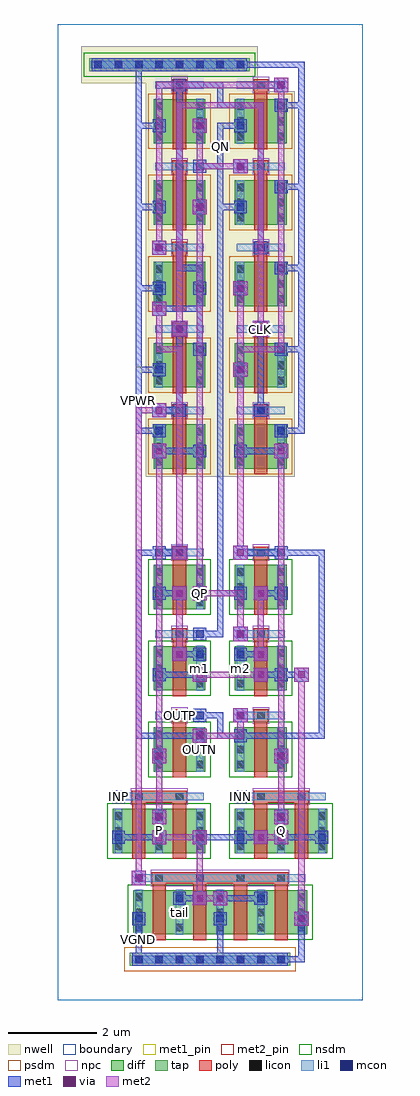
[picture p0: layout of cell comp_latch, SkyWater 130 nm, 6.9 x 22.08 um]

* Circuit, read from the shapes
.subckt comp_latch CLK INN INP OUTN OUTP P Q QN QP VGND VPWR m1 m2 tail
XM1 P INP tail VGND sky130_fd_pr__nfet_01v8 w=1 l=0.3 m=2
XM2 tail CLK VGND VGND sky130_fd_pr__nfet_01v8 w=1 l=0.3 m=4
XM3 OUTN OUTP P VGND sky130_fd_pr__nfet_01v8 w=1 l=0.3
XM4 m1 QN VGND VGND sky130_fd_pr__nfet_01v8 w=1 l=0.3
XM5 QP OUTN m1 VGND sky130_fd_pr__nfet_01v8 w=1 l=0.3
XM6 Q INN tail VGND sky130_fd_pr__nfet_01v8 w=1 l=0.3 m=2
XM7 Q OUTN OUTP VGND sky130_fd_pr__nfet_01v8 w=1 l=0.3
XM8 VGND QP m2 VGND sky130_fd_pr__nfet_01v8 w=1 l=0.3
XM9 m2 OUTP QN VGND sky130_fd_pr__nfet_01v8 w=1 l=0.3
XM10 P CLK VPWR VPWR sky130_fd_pr__pfet_01v8 w=1 l=0.3
XM11 OUTN CLK VPWR VPWR sky130_fd_pr__pfet_01v8 w=1 l=0.3
XM12 OUTN OUTP VPWR VPWR sky130_fd_pr__pfet_01v8 w=1 l=0.3
XM13 QP QN VPWR VPWR sky130_fd_pr__pfet_01v8 w=1 l=0.3
XM14 QP OUTN VPWR VPWR sky130_fd_pr__pfet_01v8 w=1 l=0.3
XM15 VPWR CLK Q VPWR sky130_fd_pr__pfet_01v8 w=1 l=0.3
XM16 VPWR CLK OUTP VPWR sky130_fd_pr__pfet_01v8 w=1 l=0.3
XM17 VPWR OUTN OUTP VPWR sky130_fd_pr__pfet_01v8 w=1 l=0.3
XM18 VPWR QP QN VPWR sky130_fd_pr__pfet_01v8 w=1 l=0.3
XM19 VPWR OUTP QN VPWR sky130_fd_pr__pfet_01v8 w=1 l=0.3
.ends

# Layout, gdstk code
import gdstk
lib = gdstk.Library(unit=1e-6, precision=1e-09)
def R(c, l, rs):  # rectangles x0, y0, x1, y1
    for r in rs: c.add(gdstk.rectangle(r[:2], r[2:], *l))
def A(c, l, x, y, w, h, nx, ny, dx, dy):  # array of equal rectangles
    R(c, l, [(x+i*dx, y+j*dy, x+i*dx+w, y+j*dy+h) for i in range(nx) for j in range(ny)])
nwell = (64, 20)
diff = (65, 20)
tap = (65, 44)
poly = (66, 20)
licon = (66, 44)
li1 = (67, 20)
mcon = (67, 44)
met1_pin = (68, 16)
met1 = (68, 20)
via = (68, 44)
met2_pin = (69, 16)
met2 = (69, 20)
nsdm = (93, 44)
psdm = (94, 20)
npc = (95, 20)
boundary = (235, 4)

comp_latch = lib.new_cell('comp_latch')
R(comp_latch, nwell, [(1.995,11.84,5.365,20.56), (1.995,20.56,4.525,20.74), (0.535,20.74,4.525,21.58)])
A(comp_latch, diff, 2.175, 5.165, 1.17, 1, 1, 3, 0, 1.84)
A(comp_latch, diff, 4.015, 5.165, 1.17, 1, 1, 3, 0, 1.84)
A(comp_latch, diff, 2.175, 12.02, 1.17, 1, 1, 5, 0, 1.84)
A(comp_latch, diff, 4.015, 12.02, 1.17, 1, 1, 5, 0, 1.84)
R(comp_latch, diff, [(1.715,1.485,5.645,2.485), (1.255,3.325,3.345,4.325), (4.015,3.325,6.105,4.325)])
R(comp_latch, tap, [(1.635,0.775,5.265,1.065), (0.715,21.015,4.345,21.305)])
A(comp_latch, poly, 2.15, 1.355, 0.3, 1.405, 4, 1, 0.92, 0)
A(comp_latch, poly, 2.61, 3.195, 0.3, 1.405, 1, 4, 0, 1.84)
A(comp_latch, poly, 4.45, 3.195, 0.3, 1.405, 1, 4, 0, 1.84)
A(comp_latch, poly, 2.595, 6.305, 0.33, 0.27, 1, 3, 0, 1.84)
A(comp_latch, poly, 4.435, 6.305, 0.33, 0.27, 1, 3, 0, 1.84)
A(comp_latch, poly, 2.61, 11.89, 0.3, 1.45, 1, 5, 0, 1.84)
A(comp_latch, poly, 4.45, 11.89, 0.3, 1.45, 1, 5, 0, 1.84)
A(comp_latch, poly, 2.595, 13.205, 0.33, 0.27, 1, 5, 0, 1.84)
A(comp_latch, poly, 4.435, 13.205, 0.33, 0.27, 1, 5, 0, 1.84)
R(comp_latch, poly, [(2.135,2.625,5.225,2.895), (1.69,3.195,1.99,4.6), (5.37,3.195,5.67,4.6), (1.675,4.465,2.925,4.735), (4.435,4.465,5.685,4.735)])
A(comp_latch, licon, 1.755, 0.835, 0.17, 0.17, 8, 1, 0.46, 0)
A(comp_latch, licon, 1.755, 1.56, 0.17, 0.17, 5, 3, 0.92, 0.34)
A(comp_latch, licon, 2.215, 2.675, 0.17, 0.17, 4, 2, 0.92, 2.565)
A(comp_latch, licon, 1.295, 3.4, 0.17, 0.17, 6, 3, 0.92, 0.34)
A(comp_latch, licon, 2.675, 4.515, 0.17, 0.17, 1, 4, 0, 1.84)
A(comp_latch, licon, 4.515, 4.515, 0.17, 0.17, 1, 4, 0, 1.84)
A(comp_latch, licon, 2.215, 5.58, 0.17, 0.17, 4, 2, 0.92, 0.34)
A(comp_latch, licon, 2.215, 7.08, 0.17, 0.17, 4, 3, 0.92, 0.34)
A(comp_latch, licon, 2.215, 8.92, 0.17, 0.17, 4, 3, 0.92, 0.34)
A(comp_latch, licon, 2.215, 12.095, 0.17, 0.17, 4, 3, 0.92, 0.34)
A(comp_latch, licon, 2.675, 13.255, 0.17, 0.17, 1, 5, 0, 1.84)
A(comp_latch, licon, 4.515, 13.255, 0.17, 0.17, 1, 5, 0, 1.84)
A(comp_latch, licon, 2.215, 13.935, 0.17, 0.17, 4, 3, 0.92, 0.34)
A(comp_latch, licon, 2.215, 15.775, 0.17, 0.17, 4, 3, 0.92, 0.34)
A(comp_latch, licon, 2.215, 17.615, 0.17, 0.17, 4, 3, 0.92, 0.34)
A(comp_latch, licon, 2.215, 19.455, 0.17, 0.17, 4, 3, 0.92, 0.34)
A(comp_latch, licon, 0.835, 21.075, 0.17, 0.17, 8, 1, 0.46, 0)
R(comp_latch, licon, [(1.755,4.515,1.925,4.685), (5.435,4.515,5.605,4.685)])
A(comp_latch, li1, 1.755, 1.48, 0.17, 1.01, 5, 1, 0.92, 0)
A(comp_latch, li1, 1.295, 3.32, 0.17, 1.01, 6, 1, 0.92, 0)
A(comp_latch, li1, 2.215, 5.16, 0.17, 1.01, 4, 3, 0.92, 1.84)
A(comp_latch, li1, 2.215, 6.355, 1.09, 0.17, 1, 3, 0, 1.84)
A(comp_latch, li1, 4.055, 6.355, 1.09, 0.17, 1, 3, 0, 1.84)
A(comp_latch, li1, 2.215, 12.015, 0.17, 1.01, 4, 5, 0.92, 1.84)
A(comp_latch, li1, 2.215, 13.255, 1.09, 0.17, 1, 5, 0, 1.84)
A(comp_latch, li1, 4.055, 13.255, 1.09, 0.17, 1, 5, 0, 1.84)
R(comp_latch, li1, [(1.675,0.835,5.225,1.005), (1.755,2.675,5.605,2.845), (1.295,4.515,3.305,4.685), (4.055,4.515,6.065,4.685), (0.755,21.075,4.305,21.245)])
A(comp_latch, mcon, 1.755, 0.835, 0.17, 0.17, 8, 1, 0.46, 0)
A(comp_latch, mcon, 1.755, 1.755, 0.17, 0.17, 3, 1, 1.84, 0)
A(comp_latch, mcon, 2.215, 7.275, 0.17, 0.17, 1, 3, 0, 2.76)
A(comp_latch, mcon, 4.975, 7.275, 0.17, 0.17, 1, 3, 0, 2.76)
A(comp_latch, mcon, 2.215, 9.115, 0.17, 0.17, 4, 1, 0.92, 0)
A(comp_latch, mcon, 4.515, 13.255, 0.17, 0.17, 1, 3, 0, 1.84)
A(comp_latch, mcon, 4.975, 14.635, 0.17, 0.17, 1, 4, 0, 1.84)
A(comp_latch, mcon, 2.215, 16.015, 0.17, 0.17, 3, 3, 0.92, 1.84)
A(comp_latch, mcon, 0.835, 21.075, 0.17, 0.17, 8, 1, 0.46, 0)
R(comp_latch, mcon, [(2.675,2.215,2.845,2.385), (4.515,2.215,4.685,2.385), (1.755,2.675,1.925,2.845), (1.295,3.595,1.465,3.765), (3.135,3.595,3.305,3.765), (4.055,3.595,4.225,3.765), (5.895,3.595,6.065,3.765), (2.215,4.055,2.385,4.225), (4.975,4.055,5.145,4.225), (1.295,4.515,1.465,4.685), (4.055,4.515,4.225,4.685), (2.215,5.435,2.385,5.605), (4.975,5.435,5.145,5.605), (3.135,5.895,3.305,6.065), (4.055,5.895,4.225,6.065), (3.135,6.355,3.305,6.525), (4.055,6.355,4.225,6.525), (3.135,7.735,3.305,7.905), (4.055,7.735,4.225,7.905), (3.135,8.195,3.305,8.365), (4.055,8.195,4.225,8.365), (3.135,12.335,3.305,12.505), (4.055,12.335,4.225,12.505), (2.675,13.255,2.845,13.425), (2.215,14.175,2.385,14.345), (4.055,14.175,4.225,14.345), (3.135,14.635,3.305,14.805), (2.675,15.095,2.845,15.265), (2.215,16.935,2.385,17.105), (3.135,18.775,3.305,18.945), (4.055,18.775,4.225,18.945), (2.675,20.615,2.845,20.785), (4.975,20.615,5.145,20.785)])
R(comp_latch, met1_pin, [(1.77,0.85,1.91,1.91), (1.235,4.455,1.525,4.745), (3.995,4.455,4.285,4.745), (1.77,12.81,1.91,14.33), (4.455,15.035,4.745,15.325), (3.61,18.79,3.75,19.85)])
A(comp_latch, met1, 1.77, 0.85, 0.14, 1.06, 3, 1, 1.84, 0)
A(comp_latch, met1, 1.695, 1.695, 0.29, 0.29, 3, 1, 1.84, 0)
A(comp_latch, met1, 1.31, 3.61, 1.06, 0.14, 3, 1, 1.84, 0)
A(comp_latch, met1, 3.98, 6.28, 0.32, 0.32, 1, 3, 0, 1.84)
A(comp_latch, met1, 2.155, 7.215, 0.29, 0.29, 1, 3, 0, 2.76)
A(comp_latch, met1, 4.915, 7.215, 0.29, 0.29, 1, 3, 0, 2.76)
A(comp_latch, met1, 2.155, 9.055, 0.29, 0.29, 4, 1, 0.92, 0)
A(comp_latch, met1, 4.99, 12.81, 0.6, 0.14, 1, 5, 0, 1.84)
A(comp_latch, met1, 5.45, 12.81, 0.14, 1.98, 1, 4, 0, 1.84)
A(comp_latch, met1, 4.455, 13.195, 0.29, 0.29, 1, 3, 0, 1.84)
A(comp_latch, met1, 1.77, 14.19, 0.6, 0.14, 1, 4, 0, 1.84)
A(comp_latch, met1, 1.77, 14.19, 0.14, 1.98, 1, 3, 0, 1.84)
A(comp_latch, met1, 4.915, 14.575, 0.29, 0.29, 1, 4, 0, 1.84)
A(comp_latch, met1, 2.155, 15.955, 0.29, 0.29, 3, 3, 0.92, 1.84)
R(comp_latch, met1, [(1.695,0.775,5.205,1.065), (1.77,0.85,3.75,0.99), (3.61,0.85,5.59,0.99), (3.61,0.85,3.75,0.99), (5.36,1.68,5.68,2), (3.06,2.14,3.38,2.46), (3.52,2.14,3.84,2.46), (2.615,2.155,2.905,2.445), (4.455,2.155,4.745,2.445), (2.69,2.23,3.29,2.37), (3.61,2.23,4.67,2.37), (1.68,2.6,2,2.92), (1.695,2.615,1.985,2.905), (2.14,3.52,2.46,3.84), (3.06,3.52,3.38,3.84), (4.44,3.52,4.76,3.84), (4.9,3.52,5.22,3.84), (1.235,3.535,1.525,3.825), (3.075,3.535,3.365,3.825), (3.995,3.535,4.285,3.825), (5.835,3.535,6.125,3.825), (4.07,3.61,4.67,3.75), (2.14,3.98,2.46,4.3), (4.9,3.98,5.22,4.3), (2.155,3.995,2.445,4.285), (4.915,3.995,5.205,4.285), (1.235,4.455,1.525,4.745), (3.995,4.455,4.285,4.745), (2.14,5.36,2.46,5.68), (4.9,5.36,5.22,5.68), (2.155,5.375,2.445,5.665), (4.915,5.375,5.205,5.665), (3.06,5.82,3.38,6.14), (3.075,5.835,3.365,6.125), (3.995,5.835,4.285,6.125), (1.77,5.91,1.91,10.19), (1.77,5.91,3.29,6.05), (3.61,5.91,4.21,6.05), (3.61,5.91,3.75,6.51), (4.07,5.91,6.05,6.05), (5.91,5.91,6.05,10.19), (3.075,6.295,3.365,6.585), (3.995,6.295,4.285,6.585), (3.15,6.37,3.75,6.51), (3.06,7.2,3.38,7.52), (4.44,7.2,4.76,7.52), (5.36,7.2,5.68,7.52), (2.23,7.29,3.29,7.43), (4.53,7.29,5.13,7.43), (4.99,7.29,5.59,7.43), (2.6,7.66,2.92,7.98), (4.44,7.66,4.76,7.98), (3.075,7.675,3.365,7.965), (3.995,7.675,4.285,7.965), (2.69,7.75,3.29,7.89), (4.07,7.75,4.67,7.89), (3.075,8.135,3.365,8.425), (3.995,8.135,4.285,8.425), (3.15,8.21,3.75,8.35), (3.61,8.21,3.75,9.27), (2.6,9.04,2.92,9.36), (3.06,9.04,3.38,9.36), (4.44,9.04,4.76,9.36), (2.23,9.13,2.83,9.27), (3.61,9.13,4.21,9.27), (3.61,9.13,3.75,18.01), (4.53,9.13,5.13,9.27), (2.6,9.96,2.92,10.28), (1.77,10.05,2.37,10.19), (2.23,10.05,2.83,10.19), (4.07,10.05,5.13,10.19), (4.99,10.05,6.05,10.19), (2.14,12.26,2.46,12.58), (4.9,12.26,5.22,12.58), (3.075,12.275,3.365,12.565), (3.995,12.275,4.285,12.565), (2.23,12.35,3.29,12.49), (4.07,12.35,5.13,12.49), (1.77,12.81,2.37,12.95), (1.77,12.81,1.91,14.33), (2.14,13.18,2.46,13.5), (2.615,13.195,2.905,13.485), (2.23,13.27,2.83,13.41), (2.69,13.27,2.83,15.25), (4.53,13.27,4.67,15.25), (3.98,14.1,4.3,14.42), (2.155,14.115,2.445,14.405), (3.995,14.115,4.285,14.405), (3.075,14.575,3.365,14.865), (3.15,14.65,3.29,15.71), (2.6,15.02,2.92,15.34), (4.44,15.02,4.76,15.34), (2.615,15.035,2.905,15.325), (2.14,15.48,2.46,15.8), (2.23,15.57,3.29,15.71), (3.15,15.57,3.29,16.17), (3.98,15.94,4.3,16.26), (3.15,16.03,3.29,16.63), (2.69,16.49,3.29,16.63), (2.69,16.49,2.83,20.77), (2.14,16.86,2.46,17.18), (2.155,16.875,2.445,17.165), (4.53,16.95,4.67,20.31), (3.06,17.78,3.38,18.1), (3.61,17.87,4.21,18.01), (3.61,17.87,3.75,18.93), (3.98,18.7,4.3,19.02), (3.075,18.715,3.365,19.005), (3.995,18.715,4.285,19.005), (3.15,18.79,3.75,18.93), (3.61,18.79,3.75,19.85), (3.06,19.62,3.38,19.94), (1.77,19.71,1.91,21.23), (3.61,19.71,4.21,19.85), (3.61,20.17,4.67,20.31), (3.61,20.17,3.75,20.77), (5.45,20.17,5.59,21.23), (4.9,20.54,5.22,20.86), (2.615,20.555,2.905,20.845), (4.915,20.555,5.205,20.845), (2.69,20.63,3.75,20.77), (0.775,21.015,4.285,21.305), (1.77,21.09,5.59,21.23), (1.77,21.09,1.91,21.23)])
A(comp_latch, via, 4.065, 6.365, 0.15, 0.15, 1, 3, 0, 1.84)
R(comp_latch, via, [(5.445,1.765,5.595,1.915), (3.145,2.225,3.295,2.375), (3.605,2.225,3.755,2.375), (1.765,2.685,1.915,2.835), (2.225,3.605,2.375,3.755), (3.145,3.605,3.295,3.755), (4.525,3.605,4.675,3.755), (4.985,3.605,5.135,3.755), (2.225,4.065,2.375,4.215), (4.985,4.065,5.135,4.215), (2.225,5.445,2.375,5.595), (4.985,5.445,5.135,5.595), (3.145,5.905,3.295,6.055), (3.145,7.285,3.295,7.435), (4.525,7.285,4.675,7.435), (5.445,7.285,5.595,7.435), (2.685,7.745,2.835,7.895), (4.525,7.745,4.675,7.895), (2.685,9.125,2.835,9.275), (3.145,9.125,3.295,9.275), (4.525,9.125,4.675,9.275), (2.685,10.045,2.835,10.195), (2.225,12.345,2.375,12.495), (4.985,12.345,5.135,12.495), (2.225,13.265,2.375,13.415), (4.065,14.185,4.215,14.335), (2.685,15.105,2.835,15.255), (4.525,15.105,4.675,15.255), (2.225,15.565,2.375,15.715), (4.065,16.025,4.215,16.175), (2.225,16.945,2.375,17.095), (3.145,17.865,3.295,18.015), (4.065,18.785,4.215,18.935), (3.145,19.705,3.295,19.855), (4.985,20.625,5.135,20.775)])
R(comp_latch, met2_pin, [(3.06,9.04,3.38,9.36)])
A(comp_latch, met2, 3.98, 6.28, 0.32, 0.32, 1, 3, 0, 1.84)
R(comp_latch, met2, [(5.36,1.68,5.68,2), (5.45,1.77,5.59,7.43), (3.06,2.14,3.38,2.46), (3.52,2.14,3.84,2.46), (3.15,2.23,3.29,3.75), (3.15,2.23,3.75,2.37), (1.68,2.6,2,2.92), (1.77,2.69,1.91,13.41), (2.14,3.52,2.46,3.84), (3.06,3.52,3.38,3.84), (4.44,3.52,4.76,3.84), (4.9,3.52,5.22,3.84), (2.23,3.61,3.29,3.75), (4.53,3.61,5.13,3.75), (2.14,3.98,2.46,4.3), (4.9,3.98,5.22,4.3), (2.23,4.07,2.37,5.59), (4.99,4.07,5.13,5.59), (2.14,5.36,2.46,5.68), (4.9,5.36,5.22,5.68), (2.23,5.45,2.37,12.49), (4.99,5.45,5.13,12.49), (3.06,5.82,3.38,6.14), (3.15,5.91,4.21,6.05), (4.07,5.91,4.21,6.51), (3.06,7.2,3.38,7.52), (4.44,7.2,4.76,7.52), (5.36,7.2,5.68,7.52), (3.15,7.29,4.67,7.43), (2.6,7.66,2.92,7.98), (4.44,7.66,4.76,7.98), (2.69,7.75,2.83,9.27), (4.53,7.75,4.67,9.27), (4.07,8.21,4.21,9.27), (2.6,9.04,2.92,9.36), (3.06,9.04,3.38,9.36), (4.44,9.04,4.76,9.36), (3.15,9.13,4.21,9.27), (3.15,9.13,3.29,18.01), (2.6,9.96,2.92,10.28), (2.69,10.05,2.83,14.79), (4.07,10.05,4.21,14.33), (2.14,12.26,2.46,12.58), (4.9,12.26,5.22,12.58), (2.14,13.18,2.46,13.5), (1.77,13.27,2.37,13.41), (3.98,14.1,4.3,14.42), (4.07,14.19,4.21,16.17), (2.23,14.65,2.83,14.79), (2.23,14.65,2.37,15.71), (4.07,14.65,5.13,14.79), (4.99,14.65,5.13,20.77), (2.6,15.02,2.92,15.34), (4.44,15.02,4.76,15.34), (2.69,15.11,2.83,20.31), (4.53,15.11,4.67,20.31), (2.14,15.48,2.46,15.8), (3.98,15.94,4.3,16.26), (2.14,16.86,2.46,17.18), (2.23,16.95,2.37,20.77), (3.06,17.78,3.38,18.1), (3.15,17.87,3.29,19.85), (3.98,18.7,4.3,19.02), (3.15,18.79,4.21,18.93), (3.06,19.62,3.38,19.94), (2.69,20.17,4.67,20.31), (4.9,20.54,5.22,20.86), (2.23,20.63,5.13,20.77)])
A(comp_latch, nsdm, 2.05, 5.04, 1.42, 1.25, 1, 3, 0, 1.84)
A(comp_latch, nsdm, 3.89, 5.04, 1.42, 1.25, 1, 3, 0, 1.84)
R(comp_latch, nsdm, [(1.59,1.36,5.77,2.61), (1.13,3.2,3.47,4.45), (3.89,3.2,6.23,4.45), (0.59,20.89,4.47,21.43)])
A(comp_latch, psdm, 2.05, 11.895, 1.42, 1.25, 1, 5, 0, 1.84)
A(comp_latch, psdm, 3.89, 11.895, 1.42, 1.25, 1, 5, 0, 1.84)
R(comp_latch, psdm, [(1.51,0.65,5.39,1.19)])
A(comp_latch, npc, 2.575, 6.255, 0.37, 0.37, 1, 3, 0, 1.84)
A(comp_latch, npc, 4.415, 6.255, 0.37, 0.37, 1, 3, 0, 1.84)
A(comp_latch, npc, 2.575, 13.155, 0.37, 0.37, 1, 5, 0, 1.84)
A(comp_latch, npc, 4.415, 13.155, 0.37, 0.37, 1, 5, 0, 1.84)
R(comp_latch, npc, [(2.115,2.575,5.245,2.945), (1.655,4.415,2.945,4.785), (4.415,4.415,5.705,4.785)])
R(comp_latch, boundary, [(0,0,6.9,22.08)])
comp_latch.add(gdstk.Label('tail', (2.76,1.985), layer=67, texttype=5))
comp_latch.add(gdstk.Label('P', (2.3,3.825), layer=67, texttype=5))
comp_latch.add(gdstk.Label('Q', (5.06,3.825), layer=67, texttype=5))
comp_latch.add(gdstk.Label('OUTP', (2.76,6.44), layer=67, texttype=5))
comp_latch.add(gdstk.Label('OUTN', (3.22,5.665), layer=67, texttype=5))
comp_latch.add(gdstk.Label('m1', (3.22,7.505), layer=67, texttype=5))
comp_latch.add(gdstk.Label('m2', (4.14,7.505), layer=67, texttype=5))
comp_latch.add(gdstk.Label('CLK', (4.6,15.18), layer=68, texttype=5))
comp_latch.add(gdstk.Label('INP', (1.38,4.6), layer=68, texttype=5))
comp_latch.add(gdstk.Label('INN', (4.14,4.6), layer=68, texttype=5))
comp_latch.add(gdstk.Label('QN', (3.68,19.32), layer=68, texttype=5))
comp_latch.add(gdstk.Label('VPWR', (1.84,13.57), layer=68, texttype=5))
comp_latch.add(gdstk.Label('VGND', (1.84,1.38), layer=68, texttype=5))
comp_latch.add(gdstk.Label('QP', (3.22,9.2), layer=69, texttype=5))
comp_latch.add(gdstk.Label('CLK', (4.6,15.18), layer=68, texttype=16))
comp_latch.add(gdstk.Label('INP', (1.38,4.6), layer=68, texttype=16))
comp_latch.add(gdstk.Label('INN', (4.14,4.6), layer=68, texttype=16))
comp_latch.add(gdstk.Label('QN', (3.68,19.32), layer=68, texttype=16))
comp_latch.add(gdstk.Label('VPWR', (1.84,13.57), layer=68, texttype=16))
comp_latch.add(gdstk.Label('VGND', (1.84,1.38), layer=68, texttype=16))
comp_latch.add(gdstk.Label('QP', (3.22,9.2), layer=69, texttype=16))

lib.write_gds('comp_latch.gds')
